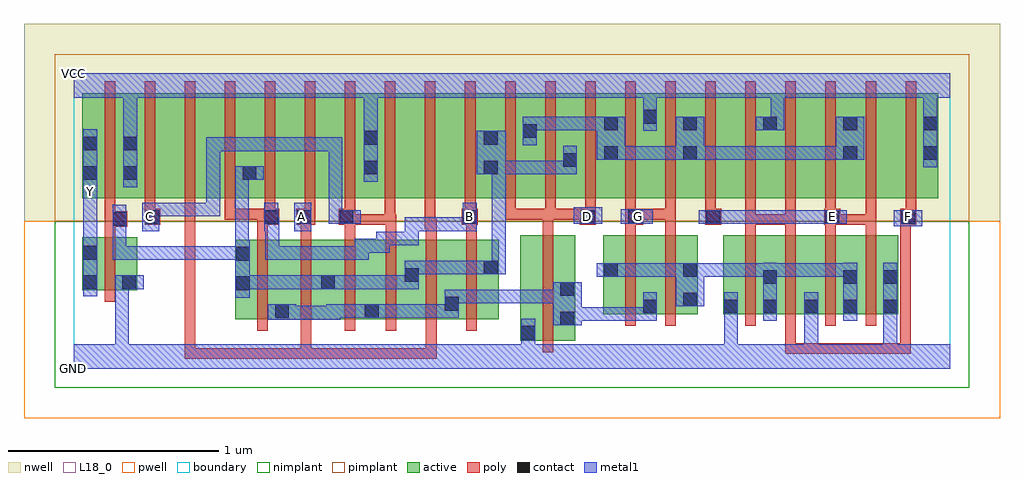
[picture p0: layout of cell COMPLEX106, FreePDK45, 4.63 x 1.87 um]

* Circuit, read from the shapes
.subckt COMPLEX106 A B C D E F G GND VCC Y
M1 GND n1 Y VSUBS nfet w=0.25u l=0.05u
M2 n2 B n1 VSUBS nfet w=0.375u l=0.05u m=2
M3 n1 A n2 VSUBS nfet w=0.375u l=0.05u m=2
M4 n2 C n1 VSUBS nfet w=0.375u l=0.05u m=2
M5 n2 D GND VSUBS nfet w=0.5u l=0.05u
M6 n2 G n3 VSUBS nfet w=0.375u l=0.05u m=2
M7 n3 F GND VSUBS nfet w=0.375u l=0.05u m=2
M8 n3 E GND VSUBS nfet w=0.375u l=0.05u m=2
M9 VCC n1 Y n4 pfet w=0.5u l=0.05u
M10 n5 C VCC n4 pfet w=0.5u l=0.05u
M11 n6 A n5 n4 pfet w=0.5u l=0.05u
M12 n1 B n6 n4 pfet w=0.5u l=0.05u
M13 n7 B n1 n4 pfet w=0.5u l=0.05u
M14 n8 A n7 n4 pfet w=0.5u l=0.05u
M15 VCC C n8 n4 pfet w=0.5u l=0.05u
M16 n9 C VCC n4 pfet w=0.5u l=0.05u
M17 n10 A n9 n4 pfet w=0.5u l=0.05u
M18 n1 B n10 n4 pfet w=0.5u l=0.05u
M19 n11 D n1 n4 pfet w=0.5u l=0.05u m=3
M20 VCC G n11 n4 pfet w=0.5u l=0.05u m=2
M21 n12 E n11 n4 pfet w=0.5u l=0.05u
M22 VCC F n12 n4 pfet w=0.5u l=0.05u
M23 n13 F VCC n4 pfet w=0.5u l=0.05u
M24 n11 E n13 n4 pfet w=0.5u l=0.05u
M25 n14 E n11 n4 pfet w=0.5u l=0.05u
M26 VCC F n14 n4 pfet w=0.5u l=0.05u
.ends

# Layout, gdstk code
import gdstk
lib = gdstk.Library(unit=1e-6, precision=1e-09)
def R(c, l, rs):  # rectangles x0, y0, x1, y1
    for r in rs: c.add(gdstk.rectangle(r[:2], r[2:], *l))
def A(c, l, x, y, w, h, nx, ny, dx, dy):  # array of equal rectangles
    R(c, l, [(x+i*dx, y+j*dy, x+i*dx+w, y+j*dy+h) for i in range(nx) for j in range(ny)])
active = (1, 0)
pwell = (2, 0)
nwell = (3, 0)
nimplant = (4, 0)
pimplant = (5, 0)
poly = (9, 0)
contact = (10, 0)
metal1 = (11, 0)
L18_0 = (18, 0)
boundary = (235, 0)

complex106 = lib.new_cell('COMPLEX106')
A(complex106, active, 0.457, 0.807, 0.19, 0.5, 3, 1, 0.57, 0)
A(complex106, active, 2.887, 0.807, 0.23, 0.5, 3, 1, 0.38, 0)
A(complex106, active, 3.117, 0.807, 0.225, 0.5, 3, 1, 0.38, 0)
R(complex106, active, [(2.12,0.132,2.38,0.632), (2.12,0.132,2.195,0.632), (2.305,0.145,2.38,0.632), (0.767,0.235,0.842,0.61), (0.767,0.235,1.027,0.61), (0.952,0.235,1.245,0.61), (0.952,0.235,1.027,0.512), (1.17,0.235,1.452,0.61), (1.377,0.235,1.642,0.61), (1.377,0.235,1.452,0.592), (1.567,0.235,1.832,0.61), (1.757,0.235,2.017,0.61), (1.757,0.242,1.832,0.467), (2.512,0.257,2.772,0.632), (2.697,0.257,2.962,0.632), (2.697,0.257,2.772,0.467), (2.887,0.257,2.962,0.632), (3.082,0.257,3.157,0.632), (3.082,0.257,3.342,0.632), (3.267,0.257,3.342,0.632), (3.267,0.257,3.537,0.632), (3.462,0.257,3.722,0.632), (3.462,0.257,3.537,0.497), (3.647,0.257,3.912,0.632), (3.647,0.257,3.722,0.6), (3.837,0.257,3.912,0.632), (1.17,0.27,1.245,0.512), (1.567,0.27,1.642,0.512), (1.942,0.27,2.017,0.61), (2.512,0.27,2.587,0.632), (0.042,0.372,0.117,0.622), (0.042,0.372,0.302,0.622), (0.227,0.372,0.302,0.622), (0.042,0.807,0.117,1.2), (0.042,0.807,0.307,1.307), (0.232,0.807,0.307,1.255), (0.232,0.807,0.457,1.307), (0.647,0.807,0.872,1.307), (0.797,0.807,1.027,1.307), (0.797,0.807,0.872,1.07), (1.217,0.807,1.447,1.307), (1.372,0.807,1.597,1.307), (1.372,0.807,1.447,1.267), (1.787,0.807,2.017,1.307), (1.942,0.807,2.202,1.307), (1.942,0.807,2.017,1.2), (2.127,0.807,2.202,1.2), (2.127,0.807,2.392,1.307), (2.317,0.807,2.587,1.307), (2.317,0.807,2.392,1.07), (2.512,0.807,2.772,1.307), (2.512,0.807,2.587,1.2), (2.697,0.807,2.772,1.255), (2.697,0.807,2.962,1.307), (2.887,0.807,2.962,1.2), (3.267,0.807,3.342,1.255), (3.647,0.807,3.722,1.2), (4.027,0.807,4.102,1.255)])
R(complex106, pwell, [(-0.235,-0.235,4.395,0.7)])
R(complex106, nwell, [(-0.235,0.7,4.395,1.635)])
R(complex106, nimplant, [(-0.09,-0.09,4.25,0.7)])
R(complex106, pimplant, [(-0.09,0.7,4.25,1.49)])
A(complex106, poly, 1.482, 0.18, 0.05, 0.485, 3, 1, 0.19, 0)
A(complex106, poly, 3.187, 0.202, 0.05, 0.485, 4, 1, 0.19, 0)
A(complex106, poly, 3.187, 0.637, 0.05, 0.095, 4, 1, 0.19, 0)
A(complex106, poly, 0.717, 0.707, 0.05, 0.095, 4, 1, 0.19, 0)
A(complex106, poly, 1.857, 0.707, 0.05, 0.095, 7, 1, 0.19, 0)
A(complex106, poly, 0.147, 0.752, 0.05, 0.61, 21, 1, 0.19, 0)
R(complex106, poly, [(0.527,0.047,0.577,0.097), (0.527,0.047,0.577,0.097), (0.527,0.047,0.577,0.097), (0.527,0.047,0.577,0.097), (0.527,0.047,0.577,0.097), (0.527,0.047,0.577,0.097), (0.527,0.047,0.577,0.097), (0.527,0.047,0.577,0.097), (0.527,0.047,0.577,0.097), (0.527,0.047,0.577,0.097), (0.527,0.047,0.577,0.097), (0.527,0.047,0.79,0.097), (0.527,0.047,0.577,0.802), (0.74,0.047,0.79,0.097), (0.74,0.047,0.79,0.097), (0.74,0.047,0.79,0.097), (0.74,0.047,0.922,0.097), (0.872,0.047,0.922,0.097), (0.872,0.047,1.127,0.097), (1.077,0.047,1.127,0.097), (1.077,0.047,1.127,0.097), (1.077,0.047,1.127,0.097), (1.077,0.047,1.127,0.23), (1.077,0.047,1.26,0.097), (1.21,0.047,1.26,0.097), (1.21,0.047,1.26,0.097), (1.21,0.047,1.26,0.097), (1.21,0.047,1.47,0.097), (1.42,0.047,1.47,0.097), (1.42,0.047,1.47,0.097), (1.42,0.047,1.47,0.097), (1.42,0.047,1.722,0.097), (1.672,0.047,1.722,0.097), (1.672,0.047,1.722,0.097), (1.672,0.047,1.722,0.097), (1.672,0.047,1.722,0.23), (3.377,0.07,3.427,0.12), (3.377,0.07,3.427,0.12), (3.377,0.07,3.427,0.12), (3.377,0.07,3.675,0.12), (3.377,0.07,3.427,0.252), (3.625,0.07,3.675,0.12), (3.625,0.07,3.675,0.12), (3.625,0.07,3.675,0.12), (3.625,0.07,3.84,0.12), (3.79,0.07,3.84,0.12), (3.79,0.07,3.84,0.12), (3.79,0.07,3.84,0.12), (3.79,0.07,3.972,0.12), (3.922,0.07,3.972,0.12), (3.922,0.07,3.972,0.732), (2.225,0.077,2.275,0.687), (0.872,0.18,0.922,0.665), (1.077,0.18,1.127,0.665), (1.287,0.18,1.337,0.665), (2.617,0.202,2.667,0.687), (2.807,0.202,2.857,0.687), (0.147,0.317,0.197,0.677), (0.872,0.615,0.922,0.732), (1.077,0.615,1.127,0.732), (1.287,0.615,1.337,0.732), (1.482,0.615,1.532,0.732), (1.672,0.615,1.722,0.71), (1.862,0.615,1.912,0.732), (0.147,0.627,0.197,0.722), (2.225,0.637,2.275,0.757), (2.617,0.637,2.667,0.732), (2.807,0.637,2.857,0.757), (1.667,0.66,1.717,0.802), (1.667,0.66,1.722,0.71), (0.147,0.672,0.255,0.747), (0.337,0.682,0.412,0.757), (0.872,0.682,0.975,0.757), (1.057,0.682,1.147,0.757), (1.257,0.682,1.337,0.757), (1.287,0.682,1.527,0.732), (1.477,0.682,1.527,0.732), (1.477,0.682,1.527,0.732), (1.477,0.682,1.527,0.802), (1.477,0.682,1.532,0.732), (1.842,0.682,1.917,0.757), (2.402,0.682,2.477,0.757), (2.617,0.682,2.702,0.757), (2.997,0.682,3.072,0.757), (3.187,0.682,3.237,0.732), (3.187,0.682,3.237,0.732), (3.187,0.682,3.237,0.732), (3.187,0.682,3.237,0.802), (3.187,0.682,3.427,0.732), (3.377,0.682,3.427,0.732), (3.377,0.682,3.427,0.802), (3.562,0.682,3.637,0.757), (3.587,0.682,3.637,0.732), (3.587,0.682,3.637,0.732), (3.587,0.682,3.807,0.732), (3.757,0.682,3.807,0.732), (3.757,0.682,3.807,0.802), (3.922,0.682,3.972,0.732), (3.922,0.682,3.972,0.732), (3.922,0.682,3.972,0.732), (3.922,0.682,3.972,0.732), (3.922,0.682,3.972,0.732), (3.922,0.682,3.972,0.732), (3.922,0.682,3.997,0.757), (0.147,0.697,0.197,0.802), (0.337,0.707,0.387,0.802), (0.717,0.707,0.767,0.757), (0.717,0.707,0.767,0.757), (0.717,0.707,0.767,0.757), (0.717,0.707,0.922,0.757), (2.047,0.707,2.097,0.757), (2.047,0.707,2.097,0.757), (2.047,0.707,2.097,0.757), (2.047,0.707,2.275,0.757), (2.225,0.707,2.287,0.757), (2.237,0.707,2.287,0.757), (2.237,0.707,2.287,0.757), (2.237,0.707,2.452,0.757), (2.652,0.707,2.857,0.757), (2.807,0.707,2.857,0.757), (2.807,0.707,2.857,0.757), (2.807,0.707,2.857,0.757), (3.567,0.707,3.617,0.802), (3.947,0.707,3.997,0.802)])
A(complex106, contact, 2.892, 1.13, 0.065, 0.065, 4, 1, 0.38, 0)
R(complex106, contact, [(2.125,0.137,2.19,0.202), (2.31,0.205,2.375,0.27), (0.957,0.24,1.022,0.305), (1.382,0.24,1.447,0.305), (2.702,0.262,2.767,0.327), (3.087,0.262,3.152,0.327), (3.272,0.262,3.337,0.327), (3.467,0.262,3.532,0.327), (3.652,0.262,3.717,0.327), (3.842,0.262,3.907,0.327), (1.762,0.275,1.827,0.34), (2.892,0.295,2.957,0.36), (2.31,0.345,2.375,0.41), (0.772,0.372,0.837,0.437), (0.047,0.377,0.112,0.442), (0.232,0.377,0.297,0.442), (1.175,0.377,1.24,0.442), (3.272,0.402,3.337,0.467), (3.652,0.402,3.717,0.467), (3.842,0.402,3.907,0.467), (1.572,0.412,1.637,0.477), (2.517,0.435,2.582,0.5), (2.892,0.435,2.957,0.5), (1.947,0.447,2.012,0.512), (0.772,0.512,0.837,0.577), (0.047,0.517,0.112,0.582), (0.185,0.677,0.25,0.742), (0.342,0.687,0.407,0.752), (0.905,0.687,0.97,0.752), (1.062,0.687,1.127,0.752), (1.262,0.687,1.327,0.752), (1.847,0.687,1.912,0.752), (2.407,0.687,2.472,0.752), (2.632,0.687,2.697,0.752), (3.002,0.687,3.067,0.752), (3.567,0.687,3.632,0.752), (3.927,0.687,3.992,0.752), (0.047,0.895,0.112,0.96), (0.237,0.895,0.302,0.96), (0.802,0.895,0.867,0.96), (1.377,0.922,1.442,0.987), (1.947,0.922,2.012,0.987), (2.322,0.957,2.387,1.022), (2.517,0.99,2.582,1.055), (2.892,0.99,2.957,1.055), (3.652,0.99,3.717,1.055), (4.032,0.99,4.097,1.055), (0.047,1.035,0.112,1.1), (0.237,1.035,0.302,1.1), (1.377,1.062,1.442,1.127), (1.947,1.062,2.012,1.127), (2.132,1.095,2.197,1.16), (2.517,1.13,2.582,1.195), (2.702,1.162,2.767,1.227)])
R(complex106, metal1, [(0,0,4.16,0.115), (0.197,0.05,0.262,0.115), (0.197,0.05,0.262,0.115), (0.197,0.05,0.262,0.115), (0.197,0.05,0.262,0.115), (0.197,0.05,0.262,0.442), (2.125,0.05,2.19,0.115), (2.125,0.05,2.19,0.115), (2.125,0.05,2.19,0.167), (3.087,0.05,3.152,0.115), (3.087,0.05,3.152,0.115), (3.087,0.05,3.152,0.292), (3.467,0.05,3.532,0.115), (3.467,0.05,3.532,0.115), (3.467,0.05,3.532,0.115), (3.467,0.05,3.532,0.115), (3.467,0.05,3.532,0.292), (3.842,0.05,3.907,0.292), (2.125,0.102,2.19,0.237), (2.275,0.205,2.41,0.41), (2.345,0.227,2.435,0.292), (2.37,0.227,2.435,0.292), (2.37,0.227,2.547,0.292), (2.482,0.227,2.547,0.292), (2.482,0.227,2.757,0.292), (2.692,0.227,2.757,0.292), (2.692,0.227,2.767,0.292), (2.702,0.227,2.767,0.362), (3.087,0.227,3.152,0.292), (3.087,0.227,3.152,0.292), (3.087,0.227,3.152,0.362), (3.272,0.227,3.337,0.502), (3.467,0.227,3.532,0.362), (3.652,0.227,3.717,0.502), (3.842,0.227,3.907,0.502), (3.842,0.227,3.907,0.292), (3.842,0.227,3.907,0.292), (3.842,0.227,3.907,0.292), (3.842,0.227,3.907,0.292), (0.922,0.232,1.057,0.305), (0.992,0.232,1.112,0.297), (1.047,0.232,1.112,0.297), (1.047,0.232,1.252,0.297), (1.187,0.232,1.252,0.297), (1.187,0.232,1.265,0.297), (1.2,0.232,1.265,0.305), (1.2,0.24,1.412,0.305), (1.347,0.24,1.482,0.305), (1.417,0.24,1.637,0.305), (1.572,0.24,1.637,0.305), (1.572,0.24,1.637,0.305), (1.572,0.24,1.637,0.305), (1.572,0.24,1.775,0.305), (1.71,0.24,1.775,0.305), (1.71,0.24,1.827,0.305), (1.762,0.24,1.827,0.375), (2.857,0.295,2.992,0.5), (1.762,0.31,1.977,0.375), (1.912,0.31,1.977,0.375), (1.912,0.31,1.977,0.375), (1.912,0.31,1.977,0.375), (1.912,0.31,2.115,0.375), (2.05,0.31,2.115,0.375), (2.05,0.31,2.202,0.375), (2.137,0.31,2.202,0.375), (2.137,0.31,2.297,0.375), (2.232,0.31,2.297,0.375), (2.232,0.31,2.34,0.375), (0.767,0.337,0.837,0.612), (0.772,0.337,0.837,0.442), (0.772,0.34,0.837,0.405), (0.047,0.342,0.112,0.617), (0.197,0.377,0.262,0.442), (0.197,0.377,0.262,0.442), (0.197,0.377,0.332,0.442), (0.772,0.377,0.975,0.442), (0.91,0.377,0.975,0.442), (0.91,0.377,0.975,0.442), (0.91,0.377,0.975,0.442), (0.91,0.377,1.112,0.442), (1.047,0.377,1.112,0.442), (1.047,0.377,1.205,0.442), (1.14,0.377,1.275,0.442), (1.21,0.377,1.5,0.442), (1.435,0.377,1.5,0.442), (1.435,0.377,1.5,0.442), (1.435,0.377,1.5,0.442), (1.435,0.377,1.637,0.442), (1.572,0.377,1.637,0.442), (1.572,0.377,1.637,0.442), (1.572,0.377,1.637,0.512), (2.482,0.435,2.617,0.5), (2.552,0.435,2.617,0.5), (2.552,0.435,2.617,0.5), (2.552,0.435,2.767,0.5), (2.702,0.435,2.767,0.5), (2.702,0.435,2.895,0.5), (2.83,0.435,2.895,0.5), (2.83,0.435,2.922,0.5), (2.927,0.435,3.13,0.5), (3.065,0.435,3.13,0.5), (3.065,0.435,3.13,0.5), (3.065,0.435,3.13,0.5), (3.065,0.435,3.322,0.5), (3.257,0.435,3.322,0.5), (3.257,0.435,3.337,0.5), (3.272,0.435,3.46,0.5), (3.395,0.435,3.46,0.5), (3.395,0.435,3.475,0.5), (3.41,0.435,3.475,0.5), (3.41,0.435,3.717,0.5), (3.652,0.435,3.717,0.5), (3.652,0.435,3.717,0.5), (1.572,0.447,1.775,0.512), (1.71,0.447,1.775,0.512), (1.71,0.447,1.805,0.512), (1.74,0.447,1.805,0.512), (1.74,0.447,1.977,0.512), (1.912,0.447,1.977,0.512), (1.912,0.447,1.977,0.512), (1.912,0.447,2.05,0.512), (1.985,0.447,2.05,0.815), (0.185,0.515,0.25,0.58), (0.185,0.515,0.387,0.58), (0.185,0.515,0.25,0.707), (0.322,0.515,0.387,0.58), (0.322,0.515,0.387,0.58), (0.322,0.515,0.387,0.58), (0.322,0.515,0.695,0.58), (0.63,0.515,0.695,0.58), (0.63,0.515,0.695,0.58), (0.63,0.515,0.695,0.58), (0.63,0.515,0.832,0.58), (0.767,0.515,0.832,0.58), (0.767,0.515,0.832,0.58), (0.91,0.515,0.975,0.58), (0.91,0.515,1.112,0.58), (0.91,0.515,0.975,0.717), (1.047,0.515,1.112,0.58), (1.047,0.515,1.227,0.58), (1.162,0.515,1.227,0.58), (1.162,0.515,1.4,0.58), (1.335,0.515,1.4,0.615), (0.767,0.547,0.832,0.96), (1.335,0.55,1.5,0.615), (1.435,0.55,1.5,0.65), (0.047,0.552,0.112,0.837), (1.435,0.585,1.637,0.65), (1.572,0.585,1.637,0.65), (1.572,0.585,1.637,0.65), (1.572,0.585,1.637,0.65), (1.572,0.585,1.637,0.717), (0.185,0.642,0.25,0.707), (0.185,0.642,0.25,0.707), (0.185,0.642,0.25,0.777), (0.327,0.652,0.407,0.787), (0.905,0.652,0.97,0.787), (0.905,0.652,0.975,0.717), (0.91,0.652,0.975,0.717), (1.047,0.652,1.127,0.787), (1.572,0.652,1.637,0.717), (1.572,0.652,1.775,0.717), (1.71,0.652,1.775,0.717), (1.71,0.652,1.807,0.717), (1.742,0.652,1.807,0.717), (1.742,0.652,1.912,0.717), (1.847,0.652,1.912,0.787), (3.892,0.675,4.027,0.752), (1.21,0.687,1.275,0.752), (1.21,0.687,1.292,0.752), (1.21,0.687,1.275,1.097), (1.227,0.687,1.362,0.752), (2.372,0.687,2.507,0.765), (2.597,0.687,2.747,0.755), (2.967,0.687,3.102,0.752), (3.037,0.687,3.13,0.752), (3.065,0.687,3.13,0.752), (3.065,0.687,3.267,0.752), (3.202,0.687,3.267,0.752), (3.202,0.687,3.267,0.752), (3.202,0.687,3.267,0.752), (3.202,0.687,3.46,0.752), (3.395,0.687,3.46,0.752), (3.395,0.687,3.475,0.752), (3.41,0.687,3.475,0.752), (3.41,0.687,3.597,0.752), (3.532,0.687,3.667,0.752), (0.342,0.722,0.407,0.787), (0.342,0.722,0.407,0.787), (0.342,0.722,0.695,0.787), (0.63,0.722,0.695,0.787), (0.63,0.722,0.695,0.787), (0.63,0.722,0.695,0.787), (0.63,0.722,0.695,0.787), (0.63,0.722,0.695,0.787), (0.63,0.722,0.695,1.097), (1.985,0.75,2.05,0.815), (1.985,0.75,2.05,0.987), (0.047,0.772,0.112,0.907), (0.047,0.842,0.112,0.925), (0.047,0.86,0.112,1.135), (0.237,0.86,0.302,1.135), (1.377,0.887,1.442,1.162), (0.767,0.895,0.832,0.96), (0.767,0.895,0.832,0.96), (0.767,0.895,0.902,0.96), (1.912,0.922,2.05,1.127), (1.985,0.922,2.05,0.987), (1.985,0.922,2.05,0.987), (1.985,0.922,2.115,0.987), (2.05,0.922,2.115,0.987), (2.05,0.922,2.202,0.987), (2.137,0.922,2.202,0.987), (2.137,0.922,2.297,0.987), (2.232,0.922,2.297,0.987), (2.232,0.922,2.387,0.987), (2.322,0.922,2.387,1.057), (4.032,0.955,4.097,1.23), (2.482,0.99,2.617,1.195), (2.552,0.99,2.617,1.055), (2.552,0.99,2.617,1.055), (2.552,0.99,2.767,1.055), (2.702,0.99,2.767,1.055), (2.702,0.99,2.895,1.055), (2.83,0.99,2.895,1.055), (2.83,0.99,2.922,1.055), (2.857,0.99,2.992,1.195), (2.927,0.99,3.13,1.055), (3.065,0.99,3.13,1.055), (3.065,0.99,3.13,1.055), (3.065,0.99,3.13,1.055), (3.065,0.99,3.29,1.055), (3.225,0.99,3.29,1.055), (3.225,0.99,3.29,1.055), (3.225,0.99,3.29,1.055), (3.225,0.99,3.46,1.055), (3.395,0.99,3.46,1.055), (3.395,0.99,3.475,1.055), (3.41,0.99,3.475,1.055), (3.41,0.99,3.682,1.055), (3.617,0.99,3.682,1.055), (3.617,0.99,3.682,1.055), (3.617,0.99,3.752,1.195), (0.63,1.032,0.695,1.097), (0.63,1.032,0.832,1.097), (0.767,1.032,0.832,1.097), (0.767,1.032,0.832,1.097), (0.767,1.032,0.832,1.097), (0.767,1.032,0.975,1.097), (0.91,1.032,0.975,1.097), (0.91,1.032,0.975,1.097), (0.91,1.032,0.975,1.097), (0.91,1.032,1.112,1.097), (1.047,1.032,1.112,1.097), (1.047,1.032,1.275,1.097), (1.21,1.032,1.275,1.097), (1.21,1.032,1.275,1.097), (1.21,1.032,1.275,1.097), (2.132,1.06,2.197,1.195), (0.237,1.07,0.302,1.35), (1.377,1.097,1.442,1.35), (2.702,1.127,2.767,1.262), (2.132,1.13,2.297,1.195), (2.232,1.13,2.297,1.195), (2.232,1.13,2.41,1.195), (2.345,1.13,2.41,1.195), (2.345,1.13,2.435,1.195), (2.37,1.13,2.435,1.195), (2.37,1.13,2.547,1.195), (3.237,1.13,3.372,1.195), (3.307,1.13,3.372,1.35), (4.032,1.165,4.097,1.35), (2.702,1.197,2.767,1.35), (0,1.285,4.16,1.4)])
R(complex106, L18_0, [(0,0,4.16,0.115), (0.197,0.05,0.262,0.115), (0.197,0.05,0.262,0.115), (0.197,0.05,0.262,0.115), (0.197,0.05,0.262,0.115), (0.197,0.05,0.262,0.442), (2.125,0.05,2.19,0.115), (2.125,0.05,2.19,0.115), (2.125,0.05,2.19,0.167), (3.087,0.05,3.152,0.115), (3.087,0.05,3.152,0.115), (3.087,0.05,3.152,0.292), (3.467,0.05,3.532,0.115), (3.467,0.05,3.532,0.115), (3.467,0.05,3.532,0.115), (3.467,0.05,3.532,0.115), (3.467,0.05,3.532,0.292), (3.842,0.05,3.907,0.292), (2.125,0.102,2.19,0.237), (3.087,0.227,3.152,0.362), (3.087,0.227,3.152,0.292), (3.087,0.227,3.152,0.292), (3.467,0.227,3.532,0.362), (3.842,0.227,3.907,0.502), (3.842,0.227,3.907,0.292), (3.842,0.227,3.907,0.292), (3.842,0.227,3.907,0.292), (3.842,0.227,3.907,0.292), (0.047,0.342,0.112,0.617), (0.197,0.377,0.262,0.442), (0.197,0.377,0.262,0.442), (0.197,0.377,0.332,0.442), (0.91,0.515,0.975,0.58), (0.91,0.515,1.112,0.58), (0.91,0.515,0.975,0.717), (1.047,0.515,1.112,0.58), (1.047,0.515,1.227,0.58), (1.162,0.515,1.227,0.58), (1.162,0.515,1.4,0.58), (1.335,0.515,1.4,0.615), (1.335,0.55,1.5,0.615), (1.435,0.55,1.5,0.65), (0.047,0.552,0.112,0.837), (1.435,0.585,1.637,0.65), (1.572,0.585,1.637,0.65), (1.572,0.585,1.637,0.65), (1.572,0.585,1.637,0.65), (1.572,0.585,1.637,0.717), (0.327,0.652,0.407,0.787), (0.905,0.652,0.97,0.787), (0.905,0.652,0.975,0.717), (0.91,0.652,0.975,0.717), (1.047,0.652,1.127,0.787), (1.572,0.652,1.637,0.717), (1.572,0.652,1.775,0.717), (1.71,0.652,1.775,0.717), (1.71,0.652,1.807,0.717), (1.742,0.652,1.807,0.717), (1.742,0.652,1.912,0.717), (1.847,0.652,1.912,0.787), (3.892,0.675,4.027,0.752), (0.327,0.687,0.392,0.752), (1.047,0.687,1.112,0.752), (1.21,0.687,1.275,0.752), (1.21,0.687,1.275,1.097), (1.21,0.687,1.292,0.752), (1.227,0.687,1.362,0.752), (1.847,0.687,1.912,0.752), (2.372,0.687,2.507,0.765), (2.407,0.687,2.472,0.752), (2.597,0.687,2.747,0.755), (2.647,0.687,2.712,0.752), (2.967,0.687,3.102,0.752), (3.037,0.687,3.13,0.752), (3.065,0.687,3.13,0.752), (3.065,0.687,3.267,0.752), (3.202,0.687,3.267,0.752), (3.202,0.687,3.267,0.752), (3.202,0.687,3.267,0.752), (3.202,0.687,3.46,0.752), (3.395,0.687,3.46,0.752), (3.395,0.687,3.475,0.752), (3.41,0.687,3.475,0.752), (3.41,0.687,3.597,0.752), (3.532,0.687,3.667,0.752), (3.567,0.687,3.632,0.752), (3.927,0.687,3.992,0.752), (0.342,0.722,0.407,0.787), (0.342,0.722,0.407,0.787), (0.342,0.722,0.695,0.787), (0.63,0.722,0.695,0.787), (0.63,0.722,0.695,0.787), (0.63,0.722,0.695,0.787), (0.63,0.722,0.695,0.787), (0.63,0.722,0.695,0.787), (0.63,0.722,0.695,1.097), (0.047,0.772,0.112,0.907), (0.047,0.807,0.112,0.872), (0.047,0.842,0.112,0.925), (0.047,0.86,0.112,1.135), (0.237,0.86,0.302,1.135), (1.377,0.887,1.442,1.162), (4.032,0.955,4.097,1.23), (0.63,1.032,0.695,1.097), (0.63,1.032,0.832,1.097), (0.767,1.032,0.832,1.097), (0.767,1.032,0.832,1.097), (0.767,1.032,0.832,1.097), (0.767,1.032,0.975,1.097), (0.91,1.032,0.975,1.097), (0.91,1.032,0.975,1.097), (0.91,1.032,0.975,1.097), (0.91,1.032,1.112,1.097), (1.047,1.032,1.112,1.097), (1.047,1.032,1.275,1.097), (1.21,1.032,1.275,1.097), (1.21,1.032,1.275,1.097), (1.21,1.032,1.275,1.097), (0.237,1.07,0.302,1.35), (1.377,1.097,1.442,1.35), (2.702,1.127,2.767,1.262), (3.237,1.13,3.372,1.195), (3.307,1.13,3.372,1.35), (4.032,1.165,4.097,1.35), (2.702,1.197,2.767,1.35), (0,1.285,4.16,1.4)])
R(complex106, boundary, [(0,0,4.16,1.4)])
complex106.add(gdstk.Label('A', (1.08,0.72), layer=11, texttype=0))
complex106.add(gdstk.Label('B', (1.88,0.72), layer=11, texttype=0))
complex106.add(gdstk.Label('C', (0.36,0.72), layer=11, texttype=0))
complex106.add(gdstk.Label('D', (2.44,0.72), layer=11, texttype=0))
complex106.add(gdstk.Label('E', (3.6,0.72), layer=11, texttype=0))
complex106.add(gdstk.Label('F', (3.96,0.72), layer=11, texttype=0))
complex106.add(gdstk.Label('G', (2.68,0.72), layer=11, texttype=0))
complex106.add(gdstk.Label('Y', (0.08,0.84), layer=11, texttype=0))
complex106.add(gdstk.Label('VCC', (0,1.4), layer=11, texttype=0))
complex106.add(gdstk.Label('GND', (0,0), layer=11, texttype=0))

lib.write_gds('COMPLEX106.gds')
